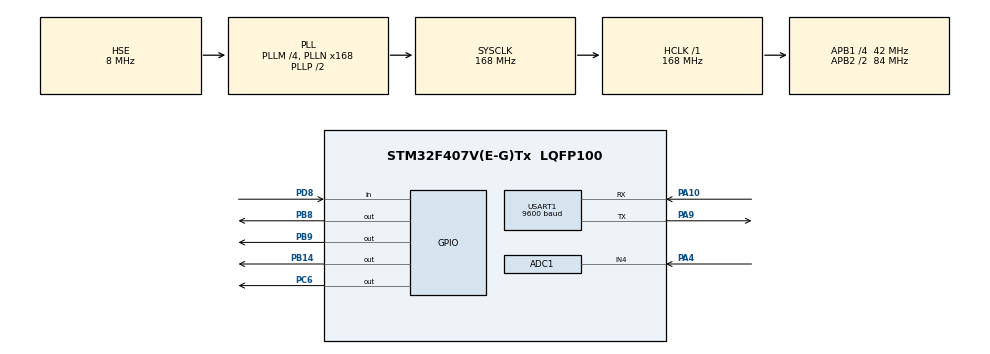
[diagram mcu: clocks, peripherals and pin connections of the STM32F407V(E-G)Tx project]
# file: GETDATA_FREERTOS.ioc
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ADC1.Channel-0\#ChannelRegularConversion=ADC_CHANNEL_4
ADC1.NbrOfConversionFlag=1
ADC1.Rank-0\#ChannelRegularConversion=1
ADC1.SamplingTime-0\#ChannelRegularConversion=ADC_SAMPLETIME_3CYCLES
ADC1.master=1
FREERTOS.Tasks01=GETDATA,0,128,StartDefaultTask,Default,NULL,Dynamic,NULL,NULL;SHOWDATA,0,128,StartTask02,Default,NULL,Dynamic,NULL,NULL;LET_LED_ON,0,128,StartTask03,Default,NULL,Dynamic,NULL,NULL
Mcu.Family=STM32F4
Mcu.Name=STM32F407V(E-G)Tx
Mcu.Package=LQFP100
NVIC.PriorityGroup=NVIC_PRIORITYGROUP_4
NVIC.TIM1_UP_TIM10_IRQn=true\:15\:0\:false\:false\:true\:false\:false\:true\:true
NVIC.TimeBase=TIM1_UP_TIM10_IRQn
NVIC.TimeBaseIP=TIM1
NVIC.USART1_IRQn=true\:5\:0\:false\:false\:true\:true\:true\:true\:true
PA10.Mode=Asynchronous
PA10.Signal=USART1_RX
PA13.Mode=Serial_Wire
PA13.Signal=SYS_JTMS-SWDIO
PA14.Mode=Serial_Wire
PA14.Signal=SYS_JTCK-SWCLK
PA4.Signal=ADCx_IN4
PA9.GPIO_PuPd=GPIO_PULLUP
PA9.Mode=Asynchronous
PA9.Signal=USART1_TX
PB14.GPIO_PuPd=GPIO_PULLUP
PB14.GPIO_Speed=GPIO_SPEED_FREQ_HIGH
PB14.PinState=GPIO_PIN_SET
PB14.Signal=GPIO_Output
PB8.GPIO_ModeDefaultOutputPP=GPIO_MODE_OUTPUT_PP
PB8.GPIO_PuPd=GPIO_PULLUP
PB8.GPIO_Speed=GPIO_SPEED_FREQ_HIGH
PB8.PinState=GPIO_PIN_SET
PB8.Signal=GPIO_Output
PB9.GPIO_ModeDefaultOutputPP=GPIO_MODE_OUTPUT_PP
PB9.GPIO_PuPd=GPIO_PULLUP
PB9.GPIO_Speed=GPIO_SPEED_FREQ_HIGH
PB9.PinState=GPIO_PIN_SET
PB9.Signal=GPIO_Output
PC14-OSC32_IN.Mode=LSE-External-Oscillator
PC14-OSC32_IN.Signal=RCC_OSC32_IN
PC15-OSC32_OUT.Mode=LSE-External-Oscillator
PC15-OSC32_OUT.Signal=RCC_OSC32_OUT
PC6.GPIO_PuPd=GPIO_PULLUP
PC6.GPIO_Speed=GPIO_SPEED_FREQ_HIGH
PC6.PinState=GPIO_PIN_SET
PC6.Signal=GPIO_Output
PD8.GPIO_PuPd=GPIO_NOPULL
PD8.Signal=GPIO_Input
PH0-OSC_IN.Mode=HSE-External-Oscillator
PH0-OSC_IN.Signal=RCC_OSC_IN
PH1-OSC_OUT.Mode=HSE-External-Oscillator
PH1-OSC_OUT.Signal=RCC_OSC_OUT
ProjectManager.HeapSize=0x200
ProjectManager.StackSize=0x400
ProjectManager.TargetToolchain=MDK-ARM V5
RCC.48MHZClocksFreq_Value=84000000
RCC.AHBFreq_Value=168000000
RCC.APB1CLKDivider=RCC_HCLK_DIV4
RCC.APB1Freq_Value=42000000
RCC.APB1TimFreq_Value=84000000
RCC.APB2CLKDivider=RCC_HCLK_DIV2
RCC.APB2Freq_Value=84000000
RCC.APB2TimFreq_Value=168000000
RCC.CortexFreq_Value=168000000
RCC.HCLKFreq_Value=168000000
RCC.HSE_VALUE=8000000
RCC.HSI_VALUE=16000000
RCC.PLLM=4
RCC.PLLN=168
RCC.PLLSourceVirtual=RCC_PLLSOURCE_HSE
RCC.SYSCLKFreq_VALUE=168000000
RCC.SYSCLKSource=RCC_SYSCLKSOURCE_PLLCLK
RCC.VCOOutputFreq_Value=336000000
SH.ADCx_IN4.0=ADC1_IN4,IN4
USART1.BaudRate=9600
USART1.VirtualMode=VM_ASYNC
VP_FREERTOS_VS_CMSIS_V1.Mode=CMSIS_V1
VP_SYS_VS_tim1.Mode=TIM1
board=custom

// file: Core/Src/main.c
/* USER CODE BEGIN Header */
/**
  ******************************************************************************
  * @file           : main.c
  * @brief          : Main program body
  ******************************************************************************
  * @attention
  *
  * Copyright (c) 2023 STMicroelectronics.
  * All rights reserved.
  *
  * This software is licensed under terms that can be found in the LICENSE file
  * in the root directory of this software component.
  * If no LICENSE file comes with this software, it is provided AS-IS.
  *
  ******************************************************************************
  */
/* USER CODE END Header */
#include "main.h"
#include "cmsis_os.h"
#include "adc.h"
#include "usart.h"
#include "gpio.h"

/* USER CODE BEGIN Includes */
#include "OLED.h"
#include "delay.h"
#include "stdio.h"
#include "getdata.h"
/* USER CODE END Includes */

void SystemClock_Config(void);
void MX_FREERTOS_Init(void);

/* USER CODE BEGIN 0 */

uint8_t RxBuffer[10] = {0};
void HAL_UART_RxCpltCallback(UART_HandleTypeDef *huart)
{
   if(huart->Instance == USART1)
	{
		if(*RxBuffer == '1')
		{
			MQ_2_Data_start_add();
		}
		else if(*RxBuffer == '2')
		{
			MQ_2_Data_start_decrese();
		}
		else if(*RxBuffer == '3')
		{
			temperature_start_add();
		}
		else if(*RxBuffer == '4')
		{
			temperature_start_decrese();
		}
		else if(*RxBuffer == '5')
		{
			humidity_start_add();
		}
		else if(*RxBuffer == '6')
		{
			humidity_start_decrese();
		}
		*RxBuffer = 0;
		HAL_UART_Receive_IT(&huart1,(uint8_t *)RxBuffer, 1); // 写在if判断里面不好用，写在最后面
	}
}

/* USER CODE END 0 */

int main(void)
{

  /* MCU Configuration--------------------------------------------------------*/

  /* Reset of all peripherals, Initializes the Flash interface and the Systick. */
  HAL_Init();

  /* Configure the system clock */
  SystemClock_Config();

  /* Initialize all configured peripherals */
  MX_GPIO_Init();
  MX_ADC1_Init();
  MX_USART1_UART_Init();
  /* USER CODE BEGIN 2 */
	OLED_Init();
	HAL_UART_Receive_IT(&huart1,(uint8_t *)RxBuffer, 1);
  /* USER CODE END 2 */

  /* Call init function for freertos objects (in freertos.c) */
  MX_FREERTOS_Init();

  /* Start scheduler */
  osKernelStart();

  /* We should never get here as control is now taken by the scheduler */
  /* Infinite loop */
  while (1)
  {

  }
}

void SystemClock_Config(void)
{
  RCC_OscInitTypeDef RCC_OscInitStruct = {0};
  RCC_ClkInitTypeDef RCC_ClkInitStruct = {0};

  /** Configure the main internal regulator output voltage
  */
  __HAL_RCC_PWR_CLK_ENABLE();
  __HAL_PWR_VOLTAGESCALING_CONFIG(PWR_REGULATOR_VOLTAGE_SCALE1);

  /** Initializes the RCC Oscillators according to the specified parameters
  * in the RCC_OscInitTypeDef structure.
  */
  RCC_OscInitStruct.OscillatorType = RCC_OSCILLATORTYPE_HSE;
  RCC_OscInitStruct.HSEState = RCC_HSE_ON;
  RCC_OscInitStruct.PLL.PLLState = RCC_PLL_ON;
  RCC_OscInitStruct.PLL.PLLSource = RCC_PLLSOURCE_HSE;
  RCC_OscInitStruct.PLL.PLLM = 4;
  RCC_OscInitStruct.PLL.PLLN = 168;
  RCC_OscInitStruct.PLL.PLLP = RCC_PLLP_DIV2;
  RCC_OscInitStruct.PLL.PLLQ = 4;
  if (HAL_RCC_OscConfig(&RCC_OscInitStruct) != HAL_OK)
  {
    Error_Handler();
  }

  /** Initializes the CPU, AHB and APB buses clocks
  */
  RCC_ClkInitStruct.ClockType = RCC_CLOCKTYPE_HCLK|RCC_CLOCKTYPE_SYSCLK
                              |RCC_CLOCKTYPE_PCLK1|RCC_CLOCKTYPE_PCLK2;
  RCC_ClkInitStruct.SYSCLKSource = RCC_SYSCLKSOURCE_PLLCLK;
  RCC_ClkInitStruct.AHBCLKDivider = RCC_SYSCLK_DIV1;
  RCC_ClkInitStruct.APB1CLKDivider = RCC_HCLK_DIV4;
  RCC_ClkInitStruct.APB2CLKDivider = RCC_HCLK_DIV2;

  if (HAL_RCC_ClockConfig(&RCC_ClkInitStruct, FLASH_LATENCY_5) != HAL_OK)
  {
    Error_Handler();
  }
}

void HAL_TIM_PeriodElapsedCallback(TIM_HandleTypeDef *htim)
{
  if (htim->Instance == TIM1) {
    HAL_IncTick();
  }
}

void Error_Handler(void)
{
  __disable_irq();
  while (1)
  {
  }
}

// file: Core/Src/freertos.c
/* USER CODE BEGIN Header */
/**
  ******************************************************************************
  * File Name          : freertos.c
  * Description        : Code for freertos applications
  ******************************************************************************
  * @attention
  *
  * Copyright (c) 2023 STMicroelectronics.
  * All rights reserved.
  *
  * This software is licensed under terms that can be found in the LICENSE file
  * in the root directory of this software component.
  * If no LICENSE file comes with this software, it is provided AS-IS.
  *
  ******************************************************************************
  */
/* USER CODE END Header */

#include "FreeRTOS.h"
#include "task.h"
#include "main.h"
#include "cmsis_os.h"

/* USER CODE BEGIN Includes */
#include "getdata.h"
#include "oled.h"
#include "adc.h"
/* USER CODE END Includes */

/* USER CODE BEGIN Variables */
uint16_t MQ_2_Data_start = 0;	//����Ũ��У��ֵ
uint8_t temperature_start = 0;//�¶�У��ֵ
uint8_t humidity_start = 0;//ʪ��У��ֵ
uint16_t MQ_2_Data = 0;//����Ũ��
uint8_t temperature = 0;//�¶�
uint8_t humidity = 0;//ʪ��

/* USER CODE END Variables */
osThreadId GETDATAHandle;
osThreadId SHOWDATAHandle;
osThreadId LET_LED_ONHandle;

void StartDefaultTask(void const * argument);
void StartTask02(void const * argument);
void StartTask03(void const * argument);

void MX_FREERTOS_Init(void); /* (MISRA C 2004 rule 8.1) */

/* GetIdleTaskMemory prototype (linked to static allocation support) */
void vApplicationGetIdleTaskMemory( StaticTask_t **ppxIdleTaskTCBBuffer, StackType_t **ppxIdleTaskStackBuffer, uint32_t *pulIdleTaskStackSize );

/* USER CODE BEGIN GET_IDLE_TASK_MEMORY */
static StaticTask_t xIdleTaskTCBBuffer;
static StackType_t xIdleStack[configMINIMAL_STACK_SIZE];

void vApplicationGetIdleTaskMemory( StaticTask_t **ppxIdleTaskTCBBuffer, StackType_t **ppxIdleTaskStackBuffer, uint32_t *pulIdleTaskStackSize )
{
  *ppxIdleTaskTCBBuffer = &xIdleTaskTCBBuffer;
  *ppxIdleTaskStackBuffer = &xIdleStack[0];
  *pulIdleTaskStackSize = configMINIMAL_STACK_SIZE;
  /* place for user code */
}
/* USER CODE END GET_IDLE_TASK_MEMORY */

void MX_FREERTOS_Init(void) {

  /* Create the thread(s) */
  /* definition and creation of GETDATA */
  osThreadDef(GETDATA, StartDefaultTask, osPriorityNormal, 0, 128);
  GETDATAHandle = osThreadCreate(osThread(GETDATA), NULL);

  /* definition and creation of SHOWDATA */
  osThreadDef(SHOWDATA, StartTask02, osPriorityNormal, 0, 128);
  SHOWDATAHandle = osThreadCreate(osThread(SHOWDATA), NULL);

  /* definition and creation of LET_LED_ON */
  osThreadDef(LET_LED_ON, StartTask03, osPriorityNormal, 0, 128);
  LET_LED_ONHandle = osThreadCreate(osThread(LET_LED_ON), NULL);

}

void StartDefaultTask(void const * argument)
{
  /* USER CODE BEGIN StartDefaultTask */
  /* Infinite loop */
  //osDelay(1);
	while(1)
	{
		DHT11_Read_Data(&temperature , &humidity);
		MQ_2_Data = Get_Adc(MQ_2_Data);
		osDelay(1000);
	}
  /* USER CODE END StartDefaultTask */
}

void StartTask02(void const * argument)
{
  /* USER CODE BEGIN StartTask02 */
  /* Infinite loop */
	OLED_P6x8Str(1,1,"smoke: ");
	OLED_P6x8Str(1,2,"tem: ");
	OLED_P6x8Str(1,3,"hum: ");
  while(1)
	{
		OLED_P6x8Num(45,1,MQ_2_Data + MQ_2_Data_start,4);
		OLED_P6x8Num(32,2,temperature + temperature_start,4);
		OLED_P6x8Num(32,3,humidity + humidity_start,4);
		osDelay(1000);
	}
  /* USER CODE END StartTask02 */
}

void StartTask03(void const * argument)
{
  /* USER CODE BEGIN StartTask03 */
  /* Infinite loop */
  while(1)
	{
		if(HAL_GPIO_ReadPin(GPIOD,GPIO_PIN_8) == GPIO_PIN_SET)
		{
			HAL_GPIO_WritePin(GPIOB,GPIO_PIN_14,GPIO_PIN_RESET);
		}
		else
		{
			HAL_GPIO_WritePin(GPIOB,GPIO_PIN_14,GPIO_PIN_SET);
		}
		osDelay(1000);
	}
  /* USER CODE END StartTask03 */
}

/* USER CODE BEGIN Application */
void MQ_2_Data_start_add()
{
	MQ_2_Data_start+=1;
}

void MQ_2_Data_start_decrese()
{
	MQ_2_Data_start-=1;
}

void temperature_start_add()
{
	temperature_start+=1;
}

void temperature_start_decrese()
{
	temperature_start-=1;
}

void humidity_start_add()
{
	humidity_start+=1;
}

void humidity_start_decrese()
{
	humidity_start-=1;
}
/* USER CODE END Application */
